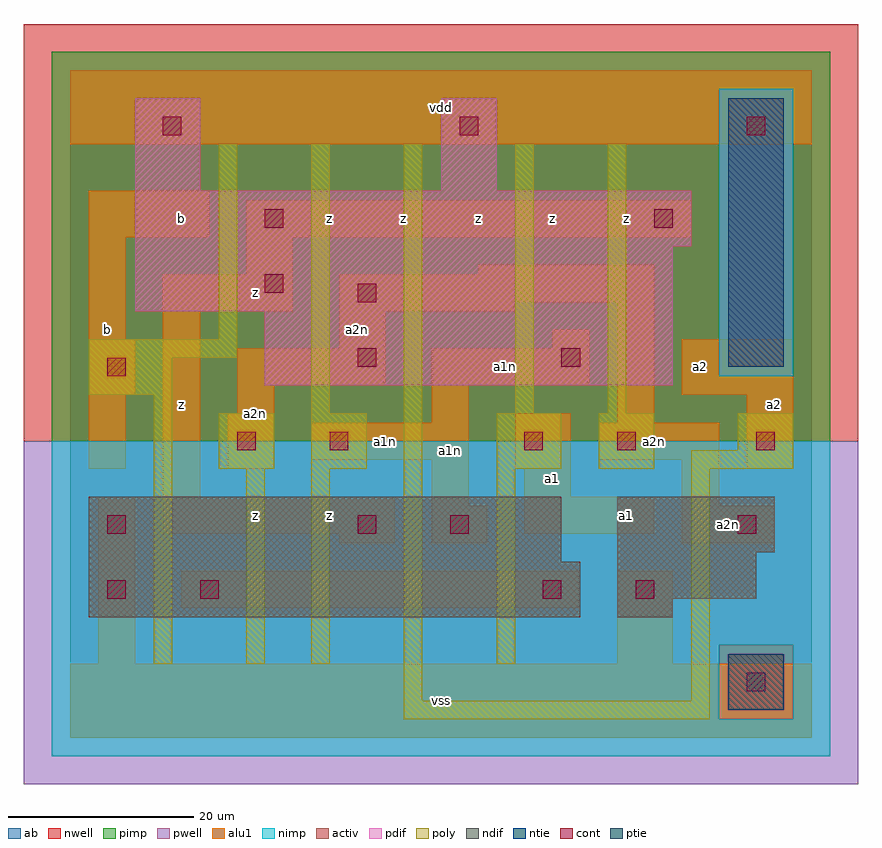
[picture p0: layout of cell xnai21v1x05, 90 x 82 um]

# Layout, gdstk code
import gdstk
lib = gdstk.Library(unit=1e-6, precision=1e-09)
def R(c, l, rs):  # rectangles x0, y0, x1, y1
    for r in rs: c.add(gdstk.rectangle(r[:2], r[2:], *l))
ndif = (3, 0)
pdif = (4, 0)
ntie = (5, 0)
ptie = (6, 0)
cont = (25, 0)
pwell = (41, 0)
nwell = (42, 0)
activ = (43, 0)
pimp = (44, 0)
nimp = (45, 0)
poly = (46, 0)
alu1 = (49, 0)
ab = (63, 0)

xnai21v1x05 = lib.new_cell('xnai21v1x05')
R(xnai21v1x05, ndif, [(2,13,55,19), (59,13,65,15), (59,15,74,20), (2,19,53,26), (59,20,76,26)])
R(xnai21v1x05, pdif, [(21,38,65,46), (7,46,65,53), (7,53,67,59), (7,59,14,69), (40,59,46,69)])
R(xnai21v1x05, ntie, [(71,40,77,69)])
R(xnai21v1x05, ptie, [(71,3,77,9)])
R(xnai21v1x05, cont, [(73,5,75,7), (4,15,6,17), (14,15,16,17), (51,15,53,17), (61,15,63,17), (4,22,6,24), (31,22,33,24), (41,22,43,24), (72,22,74,24), (18,31,20,33), (28,31,30,33), (49,31,51,33), (59,31,61,33), (74,31,76,33), (4,39,6,41), (31,40,33,42), (53,40,55,42), (31,47,33,49), (21,48,23,50), (21,55,23,57), (63,55,65,57), (10,65,12,67), (42,65,44,67), (73,65,75,67)])
R(xnai21v1x05, pwell, [(-5,-5,85,32)])
R(xnai21v1x05, nwell, [(-5,32,85,77)])
R(xnai21v1x05, activ, [(71,3,77,9), (2,13,55,19), (59,13,65,15), (59,15,74,20), (2,19,53,26), (59,20,76,26), (21,38,65,46), (71,40,77,69), (7,46,65,53), (7,53,67,59), (7,59,14,69), (40,59,46,69)])
R(xnai21v1x05, pimp, [(70,2,78,10), (-2,32,82,39), (-2,39,70,70), (78,39,82,70), (-2,70,82,74)])
R(xnai21v1x05, nimp, [(-2,-2,82,2), (-2,2,70,10), (78,2,82,10), (-2,10,82,32), (70,39,78,70)])
R(xnai21v1x05, poly, [(36,2,69,4), (36,4,38,64), (67,4,69,29), (9,8,11,37), (19,8,21,29), (26,8,28,29), (46,8,48,29), (16,29,22,35), (26,29,32,35), (46,29,53,35), (57,29,63,35), (67,29,78,31), (72,31,78,35), (26,35,28,64), (48,35,50,64), (58,35,60,64), (2,37,11,41), (2,41,18,43), (16,43,18,64)])
R(xnai21v1x05, alu1, [(0,0,80,8), (3,8,7,26), (59,8,65,18), (12,14,55,18), (29,21,35,22), (39,21,45,25), (66,21,76,25), (10,22,35,26), (49,22,63,26), (39,25,43,30), (66,25,70,30), (10,26,14,46), (49,26,54,29), (2,29,6,37), (17,29,22,35), (48,29,54,35), (73,29,78,37), (26,30,43,34), (57,30,70,34), (39,34,43,38), (59,34,63,47), (18,35,22,38), (2,37,7,43), (66,37,78,43), (18,38,34,42), (39,38,56,42), (29,42,34,46), (52,42,56,44), (2,43,6,54), (10,46,24,50), (29,46,48,47), (29,47,63,50), (19,50,24,54), (44,50,63,51), (2,54,15,59), (19,54,67,58), (0,64,80,72)])
R(xnai21v1x05, ab, [(0,0,80,72)])
xnai21v1x05.add(gdstk.Label('a2n', (20,35), layer=49, texttype=0))
xnai21v1x05.add(gdstk.Label('a2n', (31,44), layer=49, texttype=0))
xnai21v1x05.add(gdstk.Label('a1n', (34,32), layer=49, texttype=0))
xnai21v1x05.add(gdstk.Label('a1n', (41,31), layer=49, texttype=0))
xnai21v1x05.add(gdstk.Label('a1n', (47,40), layer=49, texttype=0))
xnai21v1x05.add(gdstk.Label('a2n', (63,32), layer=49, texttype=0))
xnai21v1x05.add(gdstk.Label('a2n', (71,23), layer=49, texttype=0))
xnai21v1x05.add(gdstk.Label('z', (12,36), layer=49, texttype=0))
xnai21v1x05.add(gdstk.Label('b', (4,44), layer=49, texttype=0))
xnai21v1x05.add(gdstk.Label('b', (12,56), layer=49, texttype=0))
xnai21v1x05.add(gdstk.Label('z', (20,24), layer=49, texttype=0))
xnai21v1x05.add(gdstk.Label('z', (28,24), layer=49, texttype=0))
xnai21v1x05.add(gdstk.Label('z', (20,48), layer=49, texttype=0))
xnai21v1x05.add(gdstk.Label('z', (28,56), layer=49, texttype=0))
xnai21v1x05.add(gdstk.Label('z', (36,56), layer=49, texttype=0))
xnai21v1x05.add(gdstk.Label('vss', (40,4), layer=49, texttype=0))
xnai21v1x05.add(gdstk.Label('a1', (52,28), layer=49, texttype=0))
xnai21v1x05.add(gdstk.Label('z', (52,56), layer=49, texttype=0))
xnai21v1x05.add(gdstk.Label('z', (44,56), layer=49, texttype=0))
xnai21v1x05.add(gdstk.Label('vdd', (40,68), layer=49, texttype=0))
xnai21v1x05.add(gdstk.Label('a1', (60,24), layer=49, texttype=0))
xnai21v1x05.add(gdstk.Label('a2', (76,36), layer=49, texttype=0))
xnai21v1x05.add(gdstk.Label('a2', (68,40), layer=49, texttype=0))
xnai21v1x05.add(gdstk.Label('z', (60,56), layer=49, texttype=0))

lib.write_gds('xnai21v1x05.gds')
